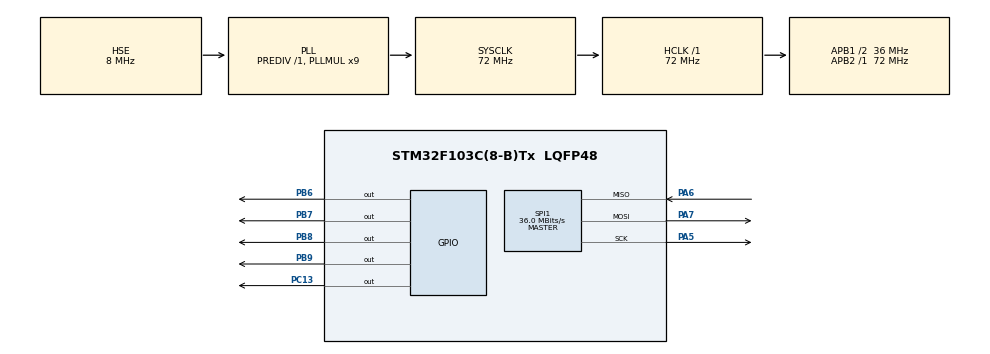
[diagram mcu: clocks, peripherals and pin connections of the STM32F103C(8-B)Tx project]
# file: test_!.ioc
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Mcu.Family=STM32F1
Mcu.Name=STM32F103C(8-B)Tx
Mcu.Package=LQFP48
NVIC.PriorityGroup=NVIC_PRIORITYGROUP_4
PA13.Mode=Serial_Wire
PA13.Signal=SYS_JTMS-SWDIO
PA14.Mode=Serial_Wire
PA14.Signal=SYS_JTCK-SWCLK
PA5.Mode=Full_Duplex_Master
PA5.Signal=SPI1_SCK
PA6.GPIO_PuPd=GPIO_PULLUP
PA6.Mode=Full_Duplex_Master
PA6.Signal=SPI1_MISO
PA7.Mode=Full_Duplex_Master
PA7.Signal=SPI1_MOSI
PB6.GPIO_Speed=GPIO_SPEED_FREQ_MEDIUM
PB6.PinState=GPIO_PIN_SET
PB6.Signal=GPIO_Output
PB7.GPIO_Speed=GPIO_SPEED_FREQ_MEDIUM
PB7.PinState=GPIO_PIN_SET
PB7.Signal=GPIO_Output
PB8.GPIO_Speed=GPIO_SPEED_FREQ_MEDIUM
PB8.PinState=GPIO_PIN_SET
PB8.Signal=GPIO_Output
PB9.GPIO_Speed=GPIO_SPEED_FREQ_MEDIUM
PB9.PinState=GPIO_PIN_SET
PB9.Signal=GPIO_Output
PC13-TAMPER-RTC.Signal=GPIO_Output
PD0-OSC_IN.Mode=HSE-External-Oscillator
PD0-OSC_IN.Signal=RCC_OSC_IN
PD1-OSC_OUT.Mode=HSE-External-Oscillator
PD1-OSC_OUT.Signal=RCC_OSC_OUT
ProjectManager.HeapSize=0x200
ProjectManager.StackSize=0x400
ProjectManager.TargetToolchain=MDK-ARM V5.32
RCC.AHBFreq_Value=72000000
RCC.APB1CLKDivider=RCC_HCLK_DIV2
RCC.APB1Freq_Value=36000000
RCC.APB1TimFreq_Value=72000000
RCC.APB2Freq_Value=72000000
RCC.APB2TimFreq_Value=72000000
RCC.HCLKFreq_Value=72000000
RCC.PLLMUL=RCC_PLL_MUL9
RCC.PLLSourceVirtual=RCC_PLLSOURCE_HSE
RCC.SYSCLKFreq_VALUE=72000000
RCC.SYSCLKSource=RCC_SYSCLKSOURCE_PLLCLK
RCC.USBFreq_Value=72000000
SPI1.BaudRatePrescaler=SPI_BAUDRATEPRESCALER_2
SPI1.CLKPhase=SPI_PHASE_2EDGE
SPI1.CLKPolarity=SPI_POLARITY_HIGH
SPI1.CRCCalculation=SPI_CRCCALCULATION_DISABLE
SPI1.CalculateBaudRate=36.0 MBits/s
SPI1.DataSize=SPI_DATASIZE_16BIT
SPI1.Direction=SPI_DIRECTION_2LINES
SPI1.Mode=SPI_MODE_MASTER
SPI1.VirtualType=VM_MASTER
board=custom

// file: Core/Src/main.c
/* USER CODE BEGIN Header */
/**
  ******************************************************************************
  * @file           : main.c
  * @brief          : Main program body
  ******************************************************************************
  * @attention
  *
  * Copyright (c) 2025 STMicroelectronics.
  * All rights reserved.
  *
  * This software is licensed under terms that can be found in the LICENSE file
  * in the root directory of this software component.
  * If no LICENSE file comes with this software, it is provided AS-IS.
  *
  ******************************************************************************
  */
/* USER CODE END Header */
#include "main.h"
#include "spi.h"
#include "gpio.h"

/* USER CODE BEGIN PD */
#define	LCD_RST_CLR 	HAL_GPIO_WritePin(GPIOB,GPIO_PIN_8,GPIO_PIN_RESET);
#define LCD_RST_SET		HAL_GPIO_WritePin(GPIOB,GPIO_PIN_8,GPIO_PIN_SET);

#define LCD_CS_CLR		HAL_GPIO_WritePin(GPIOB,GPIO_PIN_9,GPIO_PIN_RESET);
#define LCD_CS_SET		HAL_GPIO_WritePin(GPIOB,GPIO_PIN_9,GPIO_PIN_SET);
/* USER CODE END PD */

void SystemClock_Config(void);

/* USER CODE BEGIN 0 */

void LCD_RESET(void)
{
	LCD_RST_CLR;
	HAL_Delay(100);
	LCD_RST_SET;
	HAL_Delay(50);//120gai(�ܲ�����Ϊ�����ٶȸĳ�High��,����ֱ�ӵ�����delay��ʱ�䲻���˰�)
}

uint8_t SPI_WriteByte(SPI_HandleTypeDef *hspi, uint8_t Byte, uint8_t cmd)
{
    uint8_t rx_data = 0;
    uint16_t tx_data;

    // 构造16位发送数据：cmd占最高位，Byte占中间8位（与原寄存器操作保持一致）
    tx_data = ((uint16_t)cmd << 15) | ((uint16_t)Byte << 7);

    // 使用HAL库阻塞模式发送16位数据并接收应答
    // 参数说明：
    // 1. SPI句柄
    // 2. 发送数据缓冲区地址
    // 3. 发送数据长度（1个16位数据）
    // 4. 超时时间（单位：毫秒）
    if (HAL_SPI_TransmitReceive(hspi, (uint8_t*)&tx_data, (uint8_t*)&rx_data, 1, 100) != HAL_OK)
    {
        // 可以在这里添加错误处理代码
        Error_Handler(); // 需要用户实现错误处理函数
    }

    return rx_data;
}

void LCD_WR_REG(uint8_t data)
{
	LCD_CS_CLR;
	SPI_WriteByte(&hspi1,data,0);
	LCD_CS_SET;
}

void LCD_WR_DATA(uint8_t data)
{
	LCD_CS_CLR;
	SPI_WriteByte(&hspi1,data,1);
	LCD_CS_SET;
}

void LCD_WriteRAM_Prepare(void)
{
	LCD_WR_REG(0x2c);
}

/*写 LCD 行列地址：X 为起始的列地址，Y 为起始的行地址，x_total,y_total 分别为列地址及行地址的起点到终点的差值 */
void lcd_address(uint16_t x,uint16_t y,uint16_t x_total,uint16_t y_total)
{
	uint16_t x_end,y_end;

	x_end=x+(x_total-1)/3;
	y_end=y+y_total-1;

	LCD_WR_REG(0x2a);
	LCD_WR_DATA((x>>8)&0x00ff);
	LCD_WR_DATA(x&0x00ff);
	LCD_WR_DATA(x_end>>8&0x00ff);
	LCD_WR_DATA(x_end&0x00ff);
	LCD_WR_REG(0x2b);
	LCD_WR_DATA((y>>8)&0x00ff);
	LCD_WR_DATA(y&0x00ff);
	LCD_WR_DATA(y_end>>8&0x00ff);
	LCD_WR_DATA(y_end&0x00ff);
}

void transfer_mono_data_3pixel(uint8_t mono_data)
{
	uint8_t gray_data=0;

	if(mono_data&0x80)
	{
		gray_data=0xe0; //二进制 11100000，就是给 D7、D6、D5 赋值
	}
	else
	{
		gray_data=0;
	}
	mono_data<<=1;
	if(mono_data&0x80)
	{
		gray_data+=0x1c; //二进制 00011100，就是给 D4、D3、D2 赋值
	}
	else;
	mono_data<<=1;
	if(mono_data&0x80)
	{
		gray_data+=0x03; //二进制 00000011，就是给 D1、D0 赋值
	}
	else;
	LCD_WR_DATA(gray_data); //display 3 dots (seg_N,seg_N+1,seg_N+2)
}

void transfer_mono_data_6pixel(uint8_t dat1)
{
	transfer_mono_data_3pixel(dat1);
	transfer_mono_data_3pixel(dat1<<3);
}

void transfer_mono_data_9pixel(uint8_t dat1,uint8_t dat2)
{
	transfer_mono_data_6pixel(dat1);//先显示 6 个点阵
	transfer_mono_data_3pixel((dat1<<6)|(dat2>>2)); //显示 dat1 的 D1、D0 和 dat2 的 D7 位，对应 3 个点阵(第 7、8、9 个）会显示出来；列地址是自动+1 的
}

void transfer_mono_data_12pixel(uint8_t dat1,uint8_t dat2)
{
	transfer_mono_data_9pixel(dat1,dat2);//先显示 9 个点阵
	transfer_mono_data_3pixel(dat2<<1); //传送 dat2 的 D6\D5\D4 这 3 位，对应第 10、11、12 个个点阵会显示出来；列地址是自动+1的
}

void transfer_mono_data_15pixel(uint8_t dat1,uint8_t dat2)
{
	transfer_mono_data_12pixel(dat1,dat2); //先显示 12 个点阵
	transfer_mono_data_3pixel(dat2<<4); //传送 dat2 的 D3\D2\D1 这 3 位，对应第 13、14、15 个点阵会显示出来；列地址是自动+1的
}

void transfer_mono_data_18pixel(uint8_t dat1,uint8_t dat2,uint8_t dat3)
{
	transfer_mono_data_15pixel(dat1,dat2); //先显示 15 个点阵
	transfer_mono_data_3pixel((dat2<<7)|(dat3>>1)); //传送 dat2 的 D0 和 dat3 的 D7、D6 这 3 位，对应第 16、17、18 个点阵会显示出来；列地址是自动+1 的
}

void LCD_Clear(void)
{
	int i,j = 0;

	lcd_address(0,0,240,160);
	LCD_WriteRAM_Prepare();

	for(i=0;i<160;i++)
	{
		for(j=0;j<20;j++)
		{
			transfer_mono_data_18pixel(0x00,0x00,0x00); //每个字节显示 8 个点阵，显示 8*3=24 个点阵
		}
	}
}

void LCD_Init(void)
{
	LCD_RESET();//LCD复位

	//************* ST7586S初始化**********//
	LCD_WR_REG(0x11); //退出睡眠模式
	LCD_WR_REG(0xC0); // 设置 VOP
	LCD_WR_DATA(0xf1); // 设置 VOP 的值的低 8 位（总共 9 位）,每调一级是 0.03667V
	LCD_WR_DATA(0x00); // 设置 VOP 的值的第 9 位，也是最高一位
	LCD_WR_REG(0xC3); // 设置 BIAS
	LCD_WR_DATA(0x02); // 00：BIAS = 1/14 02 = 1/12
	LCD_WR_REG(0xC4); // 设置升压倍数
	LCD_WR_DATA(0x07); // 07：8 倍压
	LCD_WR_REG(0xD0); // 允许模拟电路
	LCD_WR_DATA(0x1D); // 允许模拟电路
	LCD_WR_REG(0xB5); // N-Line = 13
	LCD_WR_DATA(0x00); // 8d
	LCD_WR_REG(0x38); // 0x38：设置为灰度模式； 0x39: 设置为黑白模式。
	LCD_WR_REG(0x3A); // 允许 DDRAM 接口：单色模式、4 灰度级、16 灰度级；
	LCD_WR_DATA(0x02); // 0x03:16 灰度级；0x02:4 灰度级或单色模式。

	LCD_WR_REG(0x36); // 扫描顺序设置
	LCD_WR_DATA(0x00); // 扫描顺序设置:MX=1,MY=1: 从左到右，从上到下的扫描顺序
	LCD_WR_REG(0xB0); // Duty 设置
	LCD_WR_DATA(0x9f); // Duty 设置:1/160
	LCD_WR_REG(0x20); // 反显设置：OFF
	LCD_WR_REG(0xf1); //温度补偿，温度变化改变帧频
	LCD_WR_DATA(0x15);
	LCD_WR_DATA(0x15);
	LCD_WR_DATA(0x15);
	LCD_WR_DATA(0x15);
	LCD_WR_REG(0xb1);  // 扫描起始行设置
	LCD_WR_DATA(0x00); // 扫描起始行设置：从 COM0 开始
	LCD_WR_REG(0x29);  // 打开显示：DISPLAY ON

	HAL_GPIO_WritePin(GPIOB,GPIO_PIN_6,GPIO_PIN_SET);//LED

	LCD_Clear();

}

uint8_t BMP[] =
{
/*--  调入了一幅图像：C:\Users\Administrator\Desktop\22.bmp  --*/
/*--  宽度x高度=240x160  --*/
0x00,0x00,0x00,0x00,0x00,0x00,0x00,0x00,0x00,0x00,0x00,0x00,0x00,0x00,0x00,0x00,
0x00,0x00,0x00,0x00,0x00,0x00,0x00,0x00,0x00,0x00,0x00,0x00,0x00,0x00,0x00,0x00,
0x00,0x00,0x00,0x00,0x00,0x00,0x00,0x00,0x00,0x00,0x00,0x00,0x00,0x00,0x00,0x00,
0x00,0x00,0x00,0x00,0x00,0x00,0x00,0x00,0x00,0x00,0x00,0x00,0x00,0x00,0x00,0x00,
0x00,0x00,0x00,0x00,0x00,0x00,0x00,0x00,0x00,0x00,0x00,0x00,0x00,0x00,0x00,0x00,
0x00,0x00,0x00,0x00,0x00,0x00,0x00,0x00,0x00,0x00,0x00,0x00,0x00,0x00,0x00,0x00,
0x00,0x00,0x00,0x00,0x00,0x00,0x00,0x00,0x00,0x00,0x00,0x00,0x00,0x00,0x00,0x00,
0x00,0x00,0x00,0x00,0x00,0x00,0x00,0x00,0x00,0x00,0x00,0x00,0x00,0x00,0x00,0x00,
0x00,0x00,0x00,0x00,0x00,0x00,0x00,0x00,0x00,0x00,0x00,0x00,0x00,0x00,0x00,0x00,
0x00,0x00,0x00,0x00,0x00,0x00,0x00,0x00,0x00,0x00,0x00,0x00,0x00,0x00,0x00,0x00,
0x00,0x00,0x00,0x00,0x00,0x00,0x00,0x00,0x00,0x00,0x00,0x00,0x00,0x00,0x00,0x00,
0x00,0x00,0x00,0x00,0x00,0x00,0x00,0x00,0x00,0x00,0x00,0x00,0x00,0x00,0x00,0x00,
0x00,0x00,0x00,0x00,0x00,0x00,0x00,0x00,0x00,0x00,0x00,0x00,0x00,0x00,0x00,0x00,
0x00,0x00,0x00,0x00,0x00,0x00,0x00,0x00,0x00,0x00,0x00,0x00,0x00,0x00,0x00,0x00,
0x00,0x00,0x00,0x00,0x00,0x00,0x00,0x00,0x00,0x00,0x00,0x00,0x00,0x00,0x00,0x00,
0x00,0x00,0x00,0x00,0x00,0x00,0x00,0x00,0x00,0x00,0x00,0x00,0x00,0x00,0x00,0x00,
0x00,0x00,0x00,0x00,0x00,0x00,0x00,0x00,0x00,0x00,0x00,0x00,0x00,0x00,0x00,0x00,
0x00,0x00,0x00,0x00,0x00,0x00,0x00,0x00,0x00,0x00,0x00,0x00,0x00,0x00,0x00,0x00,
0x00,0x00,0x00,0x00,0x00,0x00,0x00,0x00,0x00,0x00,0x00,0x00,0x00,0x00,0x00,0x00,
0x00,0x00,0x00,0x00,0x00,0x00,0x00,0x00,0x00,0x00,0x00,0x00,0x00,0x00,0x00,0x00,
0x00,0x00,0x00,0x00,0x00,0x00,0x00,0x00,0x00,0x00,0x00,0x00,0x00,0x00,0x00,0x00,
0x00,0x00,0x00,0x00,0x00,0x00,0x00,0x00,0x00,0x00,0x00,0x00,0x00,0x00,0x00,0x00,
0x00,0x00,0x00,0x00,0x00,0x00,0x00,0x00,0x00,0x00,0x00,0x00,0x00,0x00,0x00,0x00,
0x00,0x00,0x00,0x00,0x00,0x00,0x00,0x00,0x00,0x00,0x00,0x00,0x00,0x00,0x00,0x00,
0x00,0x00,0x00,0x00,0x00,0x00,0x00,0x00,0x00,0x00,0x00,0x00,0x00,0x00,0x00,0x00,
0x00,0x00,0x00,0x00,0x00,0x00,0x00,0x00,0x00,0x00,0x00,0x00,0x00,0x00,0x00,0x00,
0x00,0x00,0x00,0x00,0x00,0x00,0x00,0x00,0x00,0x00,0x00,0x00,0x00,0x00,0x00,0x00,
0x00,0x00,0x00,0x00,0x00,0x00,0x00,0x00,0x00,0x00,0x00,0x00,0x00,0x00,0x00,0x00,
0x00,0x00,0x00,0x00,0x00,0x00,0x00,0x00,0x00,0x00,0x00,0x00,0x00,0x00,0x00,0x00,
0x00,0x00,0x00,0x00,0x00,0x00,0x00,0x00,0x00,0x00,0x00,0x00,0x00,0x00,0x00,0x00,
0x00,0x00,0x00,0x00,0x00,0x00,0x00,0x00,0x00,0x00,0x00,0x00,0x00,0x00,0x00,0x00,
0x00,0x00,0x00,0x00,0x00,0x00,0x00,0x00,0x00,0x00,0x00,0x00,0x00,0x00,0x00,0x00,
0x00,0x00,0x00,0x00,0x00,0x00,0x00,0x00,0x00,0x00,0x00,0x00,0x00,0x00,0x00,0x00,
0x00,0x00,0x00,0x00,0x00,0x00,0x00,0x00,0x00,0x00,0x00,0x00,0x00,0x00,0x00,0x00,
0x00,0x00,0x00,0x00,0x00,0x00,0x00,0x00,0x00,0x00,0x00,0x00,0x00,0x00,0x00,0x00,
0x00,0x00,0x00,0x00,0x00,0x00,0x00,0x00,0x00,0x00,0x00,0x00,0x00,0x00,0x00,0x00,
0x00,0x00,0x00,0x00,0x00,0x00,0x00,0x00,0x00,0x00,0x00,0x00,0x00,0x00,0x00,0x00,
0x00,0x00,0x00,0x00,0x00,0x00,0x00,0x00,0x00,0x00,0x00,0x00,0x00,0x00,0x00,0x00,
0x00,0x00,0x00,0x00,0x00,0x00,0x00,0x00,0x00,0x00,0x00,0x00,0x00,0x00,0x00,0x00,
0x00,0x00,0x00,0x00,0x00,0x00,0x00,0x00,0x00,0x00,0x00,0x00,0x00,0x00,0x00,0x00,
0x00,0x00,0x00,0x00,0x00,0x00,0x00,0x00,0x00,0x00,0x00,0x00,0x00,0x00,0x00,0x00,
0x00,0x00,0x00,0x00,0x00,0x00,0x00,0x00,0x00,0x00,0x00,0x00,0x00,0x00,0x00,0x00,
0x00,0x00,0x00,0x00,0x00,0x00,0x00,0x00,0x00,0x00,0x00,0x00,0x00,0x00,0x00,0x00,
0x00,0x00,0x00,0x00,0x00,0x00,0x00,0x00,0x00,0x00,0x00,0x00,0x00,0x00,0x00,0x00,
0x00,0x00,0x00,0x00,0x00,0x00,0x00,0x00,0x00,0x00,0x00,0x00,0x00,0x00,0x00,0x00,
0x00,0x00,0x00,0x00,0x00,0x00,0x00,0x00,0x00,0x00,0x00,0x00,0x00,0x00,0x00,0x00,
0x00,0x00,0x00,0x00,0x00,0x00,0x00,0x00,0x00,0x00,0x00,0x00,0x00,0x00,0x00,0x00,
0x00,0x00,0x00,0x00,0x00,0x00,0x00,0x00,0x00,0x00,0x00,0x00,0x00,0x00,0x00,0x00,
0x00,0x00,0x00,0x00,0x00,0x00,0x00,0x00,0x00,0x00,0x00,0x00,0x00,0x00,0x00,0x00,
0x00,0x00,0x00,0x00,0x00,0x00,0x00,0x00,0x00,0x00,0x00,0x00,0x00,0x00,0x00,0x00,
0x00,0x00,0x00,0x00,0x00,0x00,0x00,0x00,0x00,0x00,0x00,0x00,0x00,0x00,0x00,0x00,
0x00,0x00,0x00,0x00,0x00,0x00,0x00,0x00,0x00,0x00,0x00,0x00,0x00,0x00,0x00,0x00,
0x00,0x00,0x00,0x00,0x00,0x00,0x00,0x00,0x00,0x00,0x00,0x00,0x00,0x00,0x00,0x00,
0x00,0x00,0x00,0x00,0x00,0x00,0x00,0x00,0x00,0x00,0x00,0x00,0x00,0x00,0x00,0x00,
0x00,0x00,0x00,0x00,0x00,0x00,0x00,0x00,0x00,0x00,0x00,0x00,0x00,0x00,0x00,0x00,
0x00,0x00,0x00,0x00,0x00,0x00,0x00,0x00,0x00,0x00,0x00,0x00,0x00,0x00,0x00,0x00,
0x00,0x00,0x00,0x00,0x00,0x00,0x00,0x00,0x00,0x00,0x00,0x00,0x00,0x00,0x00,0x00,
0x00,0x00,0x00,0x00,0x00,0x00,0x00,0x00,0x00,0x00,0x00,0x00,0x00,0x00,0x00,0x00,
0x00,0x00,0x00,0x00,0x00,0x00,0x00,0x00,0x00,0x00,0x00,0x00,0x00,0x00,0x00,0x00,
0x00,0x00,0x00,0x00,0x00,0x00,0x00,0x00,0x00,0x00,0x00,0x00,0x00,0x00,0x00,0x00,
0x00,0x00,0x00,0x00,0x00,0x00,0x00,0x00,0x00,0x00,0x00,0x00,0x00,0x00,0x00,0x00,
0x00,0x00,0x00,0x00,0x00,0x00,0x00,0x00,0x00,0x00,0x00,0x00,0x00,0x00,0x00,0x00,
0x00,0x00,0x00,0x00,0x00,0x00,0x00,0x00,0x00,0x00,0x00,0x00,0x00,0x00,0x00,0x00,
0x00,0x00,0x00,0x00,0x03,0xFF,0xC0,0x00,0x00,0x00,0x00,0x00,0x00,0x00,0x00,0x00,
0x00,0x00,0x00,0x0E,0x00,0x00,0x00,0x00,0x00,0x00,0x03,0xFF,0x00,0x03,0x80,0x00,
0x00,0x00,0x03,0xFF,0xC1,0xC0,0x00,0x00,0x00,0x00,0x00,0x00,0x00,0x00,0x00,0x00,
0x00,0x1F,0x00,0x00,0x00,0x00,0x00,0x00,0x03,0xFF,0x80,0x0F,0x80,0x00,0x00,0x00,
0x03,0xFF,0xC3,0xC0,0x00,0x00,0x00,0x00,0x00,0x00,0x00,0x00,0x00,0x00,0x00,0x3F,
0xC0,0x00,0x00,0x00,0x00,0x00,0x03,0xFF,0x80,0x1F,0xC0,0x00,0x00,0x00,0x03,0xFF,
0xCF,0xE0,0x00,0x00,0x00,0x00,0x00,0x00,0x00,0x00,0x00,0x00,0x00,0x7F,0xE0,0x7F,
0xFF,0xFF,0xFF,0x00,0x03,0xFF,0x80,0x7F,0xE0,0x00,0x00,0x00,0x03,0xFF,0xDF,0xF0,
0x00,0x00,0x00,0x00,0x00,0x00,0x00,0x00,0x00,0x00,0x00,0x7F,0xF0,0x7F,0xFF,0xFF,
0xFF,0x00,0x03,0xFF,0x81,0xFF,0xF0,0x00,0x00,0x00,0x03,0xFF,0xFF,0xF8,0x00,0x00,
0x00,0x00,0x00,0x00,0x00,0x00,0x00,0x00,0x00,0xFF,0xF8,0x7F,0xFF,0xFF,0xFF,0x00,
0x03,0xFF,0x81,0xFF,0xF0,0x00,0x00,0x00,0x03,0xFF,0xFF,0xFC,0x00,0x00,0x00,0x00,
0x00,0x00,0x00,0x00,0x00,0x00,0x01,0xFF,0xFE,0x7F,0xFF,0xFF,0xFF,0x3F,0xF3,0xFF,
0x81,0xFF,0xF8,0x00,0x00,0x00,0x03,0xFF,0xFF,0xFE,0x00,0x00,0x00,0x00,0x00,0x00,
0x00,0x00,0x00,0x00,0x01,0xFF,0xFF,0x7F,0xFF,0xFF,0xFF,0x3F,0xF3,0xFF,0x80,0xFF,
0xFC,0x00,0x00,0x00,0x03,0xFF,0xDF,0xFF,0x00,0x00,0x00,0x00,0x00,0x00,0x00,0x00,
0x00,0x00,0x00,0xFF,0xFF,0xFF,0xFF,0xFF,0xFF,0x3F,0xF3,0xFF,0x80,0x7F,0xFC,0x00,
0x00,0x00,0x03,0xFF,0xCF,0xFF,0x80,0x00,0x00,0x00,0x00,0x00,0x00,0x00,0x00,0x00,
0x00,0x7F,0xFF,0xFF,0xFF,0xFF,0xFF,0x3F,0xF3,0xFF,0x80,0x7F,0xFE,0x00,0x00,0x00,
0x03,0xFF,0xC7,0xFF,0x80,0x00,0x00,0x00,0x00,0x00,0x00,0x00,0x00,0x00,0x00,0x3F,
0xFF,0xFF,0xFF,0xFF,0xFF,0x3F,0xF3,0xFF,0x80,0x3F,0xFF,0x00,0x00,0x00,0x03,0xFF,
0xC7,0xFF,0x80,0x00,0x00,0x00,0x00,0x00,0x00,0x00,0x00,0x00,0x00,0x1F,0xFF,0xFF,
0xFF,0xFF,0xFF,0x3F,0xF3,0xFF,0x80,0x1F,0xFF,0x00,0x00,0x00,0x03,0xFF,0xC3,0xFF,
0x00,0x00,0x00,0x00,0x00,0x00,0x00,0x00,0x00,0x00,0x00,0x0F,0xFF,0x7F,0xC0,0x01,
0xFF,0x3F,0xF3,0xFF,0x80,0x1F,0xFF,0x80,0x00,0x00,0x03,0xFF,0xC1,0xFE,0x00,0x00,
0x00,0x00,0x00,0x00,0x00,0x00,0x00,0x00,0x00,0x07,0xFE,0x7F,0xC0,0x01,0xFF,0x3F,
0xF3,0xFF,0x80,0x0F,0xFF,0xC0,0x00,0x00,0x03,0xFF,0xC0,0xF8,0x00,0x00,0x00,0x00,
0x00,0x00,0x00,0x00,0x00,0x00,0x00,0x03,0xFC,0x7F,0xC0,0x01,0xFF,0x3F,0xF3,0xFF,
0x80,0x0F,0xFF,0xFF,0xFF,0xFF,0xFF,0xFF,0xFF,0xFF,0xE0,0x00,0x00,0x00,0x00,0x00,
0x00,0x00,0x00,0x00,0x00,0x01,0xF8,0x7F,0xC0,0x01,0xFF,0x3F,0xF3,0xFF,0x80,0x07,
0xFF,0xBF,0xFF,0xFF,0xFF,0xFF,0xFF,0xFF,0xE0,0x00,0x00,0x00,0x00,0x00,0x00,0x00,
0x00,0x00,0x00,0x00,0xF0,0x7F,0xC0,0x01,0xFF,0x3F,0xF3,0xFF,0x80,0x03,0xFE,0x3F,
0xFF,0xFF,0xFF,0xFF,0xFF,0xFF,0xE0,0x00,0x00,0x00,0x00,0x00,0x00,0x00,0x00,0x00,
0x00,0x00,0x60,0x7F,0xCF,0xF9,0xFF,0x3F,0xF3,0xFF,0x80,0x03,0xFC,0x3F,0xFF,0xFF,
0xFF,0xFF,0xFF,0xFF,0xE0,0x00,0x00,0x00,0x00,0x00,0x00,0x00,0x00,0x00,0x00,0x00,
0x00,0x7F,0xCF,0xF9,0xFF,0x3F,0xF3,0xFF,0x80,0x01,0xF0,0x3F,0xFF,0xFF,0xFF,0xFF,
0xFF,0xFF,0xE0,0x00,0x00,0x00,0x00,0x00,0x00,0x00,0x00,0x00,0x00,0x00,0x00,0x7F,
0xCF,0xF9,0xFF,0x3F,0xF3,0xFF,0x80,0x01,0xC0,0x3F,0xFF,0xFF,0xFF,0xFF,0xFF,0xFF,
0xE0,0x00,0x00,0x00,0x00,0x00,0x00,0x00,0x00,0x00,0x00,0x00,0x00,0x7F,0xCF,0xF9,
0xFF,0x3F,0xF3,0xFF,0x80,0x00,0x00,0x3F,0xFF,0xFF,0xFF,0xFF,0xFF,0xFF,0xE0,0x00,
0x00,0x00,0x00,0x00,0x00,0x00,0x00,0x00,0x00,0x3C,0x00,0x7F,0xCF,0xF9,0xFF,0x3F,
0xF3,0xFF,0x80,0x00,0x00,0x3F,0xFF,0xFF,0xFF,0xFF,0xFF,0xFF,0xE0,0x00,0x00,0x00,
0x00,0x00,0x00,0x00,0x00,0x00,0x00,0x7E,0x00,0x7F,0xCF,0xF9,0xFF,0x3F,0xF3,0xFF,
0x80,0x00,0x00,0x3F,0xFF,0xFF,0xFF,0xFF,0xFF,0xFF,0xE0,0x00,0x00,0x00,0x00,0x00,
0x00,0x00,0x00,0x00,0x00,0xFF,0x00,0x7F,0xCF,0xF9,0xFF,0x3F,0xF3,0xFF,0x80,0x00,
0x00,0x3F,0xFF,0xFF,0xFF,0xFF,0xFF,0xFF,0xE0,0x00,0x00,0x00,0x00,0x00,0x00,0x00,
0x00,0x00,0x01,0xFF,0x80,0x7F,0xCF,0xF9,0xFF,0x3F,0xF3,0xFF,0x8F,0xFF,0xFE,0x3F,
0xFF,0xFF,0xFF,0xFF,0xFF,0xFF,0xE0,0x00,0x00,0x00,0x00,0x00,0x00,0x00,0x00,0x00,
0x01,0xFF,0xE0,0x7F,0xCF,0xF9,0xFF,0x3F,0xF3,0xFF,0x8F,0xFF,0xFE,0x00,0x00,0x00,
0x01,0xFF,0xE0,0x00,0x00,0x00,0x00,0x00,0x00,0x00,0x00,0x00,0x00,0x00,0x03,0xFF,
0xF0,0x7F,0xCF,0xF9,0xFF,0x3F,0xF3,0xFF,0x8F,0xFF,0xFE,0x00,0x00,0x00,0x01,0xFF,
0xE0,0x00,0x00,0x00,0x00,0x00,0x00,0x00,0x00,0x00,0x00,0x00,0x07,0xFF,0xF8,0x7F,
0xCF,0xF9,0xFF,0x3F,0xF3,0xFF,0x8F,0xFF,0xFE,0x00,0x00,0x00,0x01,0xFF,0xE0,0x00,
0x00,0x00,0x00,0x00,0x00,0x00,0x00,0x00,0x00,0x00,0x07,0xFF,0xFC,0x7F,0xCF,0xF9,
0xFF,0x3F,0xF3,0xFF,0x8F,0xFF,0xFE,0x00,0x00,0x00,0x01,0xFF,0xE0,0x00,0x00,0x00,
0x00,0x00,0x00,0x00,0x00,0x00,0x00,0x00,0x03,0xFF,0xFE,0x7F,0xCF,0xF9,0xFF,0x3F,
0xF3,0xFF,0x8F,0xFF,0xFE,0x00,0x00,0x00,0x01,0xFF,0xE0,0x00,0x00,0x00,0x00,0x00,
0x00,0x00,0x00,0x00,0x00,0x00,0x01,0xFF,0xFF,0x7F,0xCF,0xF9,0xFF,0x3F,0xF3,0xFF,
0x8F,0xFF,0xFE,0x00,0x00,0x00,0x01,0xFF,0xE0,0x00,0x00,0x00,0x00,0x00,0x00,0x00,
0x00,0x00,0x00,0x00,0x00,0xFF,0xFF,0x7F,0xCF,0xF9,0xFF,0x3F,0xF3,0xFF,0x8F,0xFF,
0xFE,0x00,0x00,0x00,0x01,0xFF,0xE0,0x00,0x00,0x00,0x00,0x00,0x00,0x00,0x00,0x00,
0x00,0x00,0x00,0x7F,0xFE,0x7F,0xCF,0xF9,0xFF,0x3F,0xF3,0xFF,0x8F,0xFF,0xFE,0x00,
0x00,0x00,0x01,0xFF,0xE0,0x00,0x00,0x00,0x00,0x00,0x00,0x00,0x00,0x00,0x00,0x00,
0x00,0x3F,0xFC,0x7F,0xCF,0xF9,0xFF,0x3F,0xF3,0xFF,0x8F,0xFF,0xFE,0x1F,0xFF,0xFF,
0xFD,0xFF,0xE0,0x00,0x00,0x00,0x00,0x00,0x00,0x00,0x00,0x00,0x00,0x00,0x00,0x1F,
0xF8,0x7F,0xCF,0xF9,0xFF,0x3F,0xF3,0xFF,0x87,0xFF,0xFE,0x1F,0xFF,0xFF,0xFD,0xFF,
0xE0,0x00,0x00,0x00,0x00,0x00,0x00,0x00,0x00,0x00,0x00,0x00,0x00,0x0F,0xF0,0x7F,
0xCF,0xF9,0xFF,0x3F,0xF3,0xFF,0x80,0x1F,0xFE,0x1F,0xFF,0xFF,0xFD,0xFF,0xE0,0x00,
0x00,0x00,0x00,0x00,0x00,0x00,0x00,0x00,0x00,0x00,0x00,0x07,0xF0,0x7F,0xCF,0xF9,
0xFF,0x3F,0xF3,0xFF,0x80,0x1F,0xFE,0x1F,0xFF,0xFF,0xFD,0xFF,0xE0,0x00,0x00,0x00,
0x00,0x00,0x00,0x00,0x00,0x00,0x00,0x00,0x00,0x03,0xE0,0x7F,0xCF,0xF9,0xFF,0x3F,
0xF3,0xFF,0x80,0x1F,0xFE,0x1F,0xFF,0xFF,0xFD,0xFF,0xE0,0x00,0x00,0x00,0x00,0x00,
0x00,0x00,0x00,0x00,0x00,0x00,0x00,0x01,0xC0,0x7F,0xCF,0xF9,0xFF,0x3F,0xF3,0xFF,
0x80,0x1F,0xFE,0x1F,0xFF,0xFF,0xFD,0xFF,0xE0,0x00,0x00,0x00,0x00,0x00,0x00,0x00,
0x00,0x00,0x00,0x00,0x00,0x00,0x00,0x7F,0xCF,0xF9,0xFF,0x3F,0xF3,0xFF,0x80,0x1F,
0xFE,0x1F,0xFF,0xFF,0xFD,0xFF,0xE0,0x00,0x00,0x00,0x00,0x00,0x00,0x00,0x00,0x00,
0x00,0x00,0x00,0x00,0x00,0x7F,0xCF,0xF9,0xFF,0x3F,0xF3,0xFF,0x80,0x1F,0xFE,0x1F,
0xFF,0xFF,0xFD,0xFF,0xE0,0x00,0x00,0x00,0x00,0x00,0x00,0x00,0x00,0x00,0x00,0x00,
0x00,0x00,0x00,0x7F,0xCF,0xF9,0xFF,0x3F,0xF3,0xFF,0x80,0x1F,0xFE,0x1F,0xFF,0xFF,
0xFC,0xFF,0xF0,0x00,0x00,0x00,0x00,0x00,0x00,0x00,0x00,0x00,0x00,0x00,0x00,0x00,
0x00,0x7F,0xCF,0xF9,0xFF,0x3F,0xF3,0xFF,0x80,0x1F,0xFE,0x1F,0xFF,0xFF,0xFC,0xFF,
0xF0,0x00,0x00,0x00,0x00,0x00,0x00,0x00,0x00,0x00,0x00,0x00,0x00,0x07,0x00,0x7F,
0xCF,0xF1,0xFF,0x3F,0xF3,0xFF,0x80,0x1F,0xFE,0x0F,0xFF,0xFF,0xF8,0xFF,0xF0,0x00,
0x00,0x00,0x00,0x00,0x00,0x00,0x00,0x00,0x00,0x00,0x00,0x07,0xE0,0x7F,0xDF,0xF1,
0xFF,0x3F,0xF3,0xFF,0x80,0x1F,0xFE,0x00,0x1F,0xFC,0x00,0xFF,0xF0,0x00,0x00,0x00,
0x00,0x00,0x00,0x00,0x00,0x00,0x00,0x00,0x00,0x07,0xFC,0x7F,0xDF,0xF1,0xFF,0x3F,
0xF3,0xFF,0x80,0x1F,0xFE,0x00,0x1F,0xFC,0x00,0xFF,0xF0,0x00,0x00,0x00,0x00,0x00,
0x00,0x00,0x00,0x00,0x00,0x00,0x00,0x07,0xFF,0x7F,0xDF,0xF1,0xFF,0x3F,0xF3,0xFF,
0x80,0x1F,0xFE,0x00,0x1F,0xFC,0x00,0xFF,0xF0,0x00,0x00,0x00,0x00,0x00,0x00,0x00,
0x00,0x00,0x00,0x00,0x00,0x0F,0xFF,0x7F,0xDF,0xF1,0xFF,0x3F,0xF3,0xFF,0x80,0x1F,
0xFE,0x00,0x1F,0xFC,0x00,0xFF,0xF0,0x00,0x00,0x00,0x00,0x00,0x00,0x00,0x00,0x00,
0x00,0x00,0x00,0x0F,0xFF,0x7F,0xDF,0xF1,0xFF,0x3F,0xF3,0xFF,0x80,0x1F,0xFE,0x00,
0x1F,0xFC,0x00,0xFF,0xF0,0x00,0x00,0x00,0x00,0x00,0x00,0x00,0x00,0x00,0x00,0x00,
0x00,0x0F,0xFF,0x7F,0xFF,0xF1,0xFF,0x3F,0xF3,0xFF,0x80,0x1F,0xFE,0x00,0x1F,0xFC,
0x00,0xFF,0xF0,0x00,0x00,0x00,0x00,0x00,0x00,0x00,0x00,0x00,0x00,0x00,0x00,0x0F,
0xFF,0x7F,0xFF,0xF1,0xFF,0x3F,0xF3,0xFF,0x80,0x1F,0xFE,0x00,0x1F,0xFC,0x00,0xFF,
0xF8,0x00,0x00,0x00,0x00,0x00,0x00,0x00,0x00,0x00,0x00,0x00,0x00,0x0F,0xFE,0x7F,
0xFF,0xF1,0xFF,0x3F,0xF3,0xFF,0x80,0x1F,0xFE,0x00,0x1F,0xFC,0x00,0xFF,0xF8,0x00,
0x00,0x00,0x00,0x00,0x00,0x00,0x00,0x00,0x00,0x00,0x00,0x1F,0xFE,0x7F,0xFF,0xE0,
0x00,0x3F,0xF3,0xFF,0x80,0x1F,0xFE,0x0C,0x1F,0xFC,0x00,0x7F,0xF8,0x78,0x00,0x00,
0x00,0x00,0x00,0x00,0x00,0x00,0x00,0x00,0x00,0x1F,0xFE,0x00,0x7F,0xE0,0x00,0x3F,
0xF3,0xFF,0x80,0x1F,0xFE,0x3C,0x1F,0xFC,0x00,0x7F,0xF8,0x7E,0x00,0x00,0x00,0x00,
0x00,0x00,0x00,0x00,0x00,0x00,0x00,0x1F,0xFE,0x00,0x7F,0xE6,0x00,0x3F,0xF3,0xFF,
0x80,0x1F,0xFE,0x7E,0x1F,0xFC,0x00,0x7F,0xF8,0x7F,0xC0,0x00,0x00,0x00,0x00,0x00,
0x00,0x00,0x00,0x00,0x00,0x1F,0xFC,0x00,0xFF,0xEF,0x00,0x3F,0xF3,0xFF,0x80,0x1F,
0xFE,0xFE,0x1F,0xFC,0x00,0x7F,0xF8,0x7F,0xF0,0x00,0x00,0x00,0x00,0x00,0x00,0x00,
0x00,0x00,0x00,0x3F,0xFC,0x00,0xFF,0xFF,0x80,0x3F,0xF3,0xFF,0x80,0x1F,0xFF,0xFE,
0x1F,0xFC,0x00,0x7F,0xFC,0x7F,0xF0,0x00,0x00,0x00,0x00,0x00,0x00,0x00,0x00,0x00,
0x00,0x3F,0xFC,0x01,0xFF,0xFF,0xC0,0x3F,0xF3,0xFF,0x80,0x1F,0xFF,0xFE,0x1F,0xFC,
0x00,0x7F,0xFC,0x7F,0xF0,0x00,0x00,0x00,0x00,0x00,0x00,0x00,0x00,0x00,0x00,0x3F,
0xFC,0x03,0xFF,0xFF,0xE0,0x3F,0xF3,0xFF,0x80,0x1F,0xFF,0xFE,0x1F,0xFC,0x7F,0x7F,
0xFC,0x7F,0xF0,0x00,0x00,0x00,0x00,0x00,0x00,0x00,0x00,0x00,0x00,0x3F,0xF8,0x03,
0xFF,0xFF,0xF0,0x00,0x03,0xFF,0x80,0x1F,0xFF,0xFE,0x1F,0xFF,0xFF,0x3F,0xFC,0x7F,
0xE0,0x00,0x00,0x00,0x00,0x00,0x00,0x00,0x00,0x00,0x00,0x7F,0xF8,0x07,0xFF,0xFF,
0xF8,0x00,0x03,0xFF,0x80,0x1F,0xFF,0xFE,0x1F,0xFF,0xFF,0x3F,0xFC,0xFF,0xE0,0x00,
0x00,0x00,0x00,0x00,0x00,0x00,0x00,0x00,0x00,0x7F,0xF8,0x0F,0xFF,0x7F,0xFC,0x00,
0x03,0xFF,0x80,0x1F,0xFF,0xFF,0xFF,0xFF,0xFF,0x3F,0xFE,0xFF,0xE0,0x00,0x00,0x00,
0x00,0x00,0x00,0x00,0x00,0x00,0x00,0x7F,0xF8,0x1F,0xFF,0x3F,0xFE,0x00,0x03,0xFF,
0x80,0x1F,0xFF,0xFF,0xFF,0xFF,0xFF,0x3F,0xFE,0xFF,0xE0,0x00,0x00,0x00,0x00,0x00,
0x00,0x00,0x00,0x00,0x00,0x7F,0xF0,0x3F,0xFE,0x3F,0xFE,0x00,0x07,0xFF,0x80,0x1F,
0xFF,0xFF,0xFF,0xFF,0xFF,0x1F,0xFE,0xFF,0xE0,0x00,0x00,0x00,0x00,0x00,0x00,0x00,
0x00,0x00,0x00,0xFF,0xF0,0x7F,0xFE,0x1F,0xFF,0x3F,0xFF,0xFF,0x80,0x1F,0xFF,0xFF,
0xFF,0xFF,0xFF,0x1F,0xFF,0xFF,0xE0,0x00,0x00,0x00,0x00,0x00,0x00,0x00,0x00,0x00,
0x00,0xFF,0xF0,0xFF,0xFC,0x0F,0xFF,0x9F,0xFF,0xFF,0x80,0x1F,0xFF,0xFF,0xFF,0xFF,
0xFF,0x1F,0xFF,0xFF,0xC0,0x00,0x00,0x00,0x00,0x00,0x00,0x00,0x00,0x00,0x00,0xFF,
0xF3,0xFF,0xF8,0x07,0xFF,0xDF,0xFF,0xFF,0x80,0x3F,0xFF,0xFF,0xFF,0xFF,0xFF,0x1F,
0xFF,0xFF,0xC0,0x00,0x00,0x00,0x00,0x00,0x00,0x00,0x00,0x00,0x01,0xFF,0xE7,0xFF,
0xF8,0x07,0xFF,0xFF,0xFF,0xFF,0x00,0x3F,0xFF,0xFF,0xFF,0xFF,0xFF,0x0F,0xFF,0xFF,
0xC0,0x00,0x00,0x00,0x00,0x00,0x00,0x00,0x00,0x00,0x01,0xFF,0xE7,0xFF,0xF0,0x03,
0xFF,0xDF,0xFF,0xFF,0x00,0x7F,0xFF,0x9F,0xFF,0xFF,0xFF,0x0F,0xFF,0xFF,0xC0,0x00,
0x00,0x00,0x00,0x00,0x00,0x00,0x00,0x00,0x01,0xFF,0xE3,0xFF,0xE0,0x01,0xFF,0x8F,
0xFF,0xFF,0x00,0x3F,0xFF,0x1F,0xFF,0xFF,0xFC,0x0F,0xFF,0xFF,0x80,0x00,0x00,0x00,
0x00,0x00,0x00,0x00,0x00,0x00,0x01,0xFF,0xE3,0xFF,0xC0,0x00,0xFF,0x0F,0xFF,0xFF,
0x00,0x1F,0xFE,0x1F,0xFF,0xFE,0x00,0x07,0xFF,0xFF,0x80,0x00,0x00,0x00,0x00,0x00,
0x00,0x00,0x00,0x00,0x03,0xFF,0xC1,0xFF,0xC0,0x00,0xFC,0x0F,0xFF,0xFE,0x00,0x1F,
0xF8,0x1F,0xFF,0x80,0x00,0x07,0xFF,0xFF,0x00,0x00,0x00,0x00,0x00,0x00,0x00,0x00,
0x00,0x00,0x03,0xFF,0xC0,0xFF,0x80,0x00,0x78,0x0F,0xFF,0xFC,0x00,0x0F,0xF0,0x0F,
0xE0,0x00,0x00,0x03,0xFF,0xFF,0x00,0x00,0x00,0x00,0x00,0x00,0x00,0x00,0x00,0x00,
0x01,0xFF,0xC0,0x7F,0x00,0x00,0x30,0x0F,0xFF,0xF8,0x00,0x07,0xE0,0x00,0x00,0x00,
0x00,0x01,0xFF,0xFE,0x00,0x00,0x00,0x00,0x00,0x00,0x00,0x00,0x00,0x00,0x00,0x3F,
0xC0,0x3E,0x00,0x00,0x00,0x07,0xFF,0xF0,0x00,0x03,0xC0,0x00,0x00,0x00,0x00,0x00,
0xFF,0xFC,0x00,0x00,0x00,0x00,0x00,0x00,0x00,0x00,0x00,0x00,0x00,0x07,0x80,0x3C,
0x00,0x00,0x00,0x07,0xFF,0x00,0x00,0x03,0x80,0x00,0x00,0x00,0x00,0x00,0x7F,0xF8,
0x00,0x00,0x00,0x00,0x00,0x00,0x00,0x00,0x00,0x00,0x00,0x00,0x00,0x18,0x00,0x00,
0x00,0x00,0x00,0x00,0x00,0x00,0x00,0x00,0x00,0x00,0x00,0x00,0x1F,0xE0,0x00,0x00,
0x00,0x00,0x00,0x00,0x00,0x00,0x00,0x00,0x00,0x00,0x00,0x00,0x00,0x00,0x00,0x00,
0x00,0x00,0x00,0x00,0x00,0x00,0x00,0x00,0x00,0x00,0x00,0x00,0x00,0x00,0x00,0x00,
0x00,0x00,0x00,0x00,0x00,0x00,0x00,0x00,0x00,0x00,0x00,0x00,0x00,0x00,0x00,0x00,
0x00,0x00,0x00,0x00,0x00,0x00,0x00,0x00,0x00,0x00,0x00,0x00,0x00,0x00,0x00,0x00,
0x00,0x00,0x00,0x00,0x00,0x00,0x00,0x00,0x00,0x00,0x00,0x00,0x00,0x00,0x00,0x00,
0x00,0x00,0x00,0x00,0x00,0x00,0x00,0x00,0x00,0x00,0x00,0x00,0x00,0x00,0x00,0x00,
0x00,0x00,0x00,0x00,0x00,0x00,0x00,0x00,0x00,0x00,0x00,0x00,0x00,0x00,0x00,0x00,
0x00,0x00,0x00,0x00,0x00,0x00,0x00,0x00,0x00,0x00,0x00,0x00,0x00,0x00,0x00,0x00,
0x00,0x00,0x00,0x00,0x00,0x00,0x00,0x00,0x00,0x00,0x00,0x00,0x00,0x00,0x00,0x00,
0x00,0x00,0x00,0x00,0x00,0x00,0x00,0x00,0x00,0x00,0x00,0x00,0x00,0x00,0x00,0x00,
0x00,0x00,0x00,0x00,0x00,0x00,0x00,0x00,0x00,0x00,0x00,0x00,0x00,0x00,0x00,0x00,
0x00,0x00,0x00,0x00,0x00,0x00,0x00,0x00,0x00,0x00,0x00,0x00,0x00,0x00,0x00,0x00,
0x00,0x00,0x00,0x00,0x00,0x00,0x00,0x00,0x00,0x00,0x00,0x00,0x00,0x00,0x00,0x00,
0x00,0x00,0x00,0x00,0x00,0x00,0x00,0x00,0x00,0x00,0x00,0x00,0x00,0x00,0x00,0x00,
0x00,0x00,0x00,0x00,0x00,0x00,0x00,0x00,0x00,0x00,0x00,0x00,0x00,0x00,0x00,0x00,
0x00,0x00,0x00,0x00,0x00,0x00,0x00,0x00,0x00,0x00,0x00,0x00,0x00,0x00,0x00,0x00,
0x00,0x00,0x00,0x00,0x00,0x00,0x00,0x00,0x00,0x00,0x00,0x00,0x00,0x00,0x00,0x00,
0x00,0x00,0x00,0x00,0x00,0x00,0x00,0x00,0x00,0x00,0x00,0x00,0x00,0x00,0x00,0x00,
0x00,0x00,0x00,0x00,0x00,0x00,0x00,0x00,0x00,0x00,0x00,0x00,0x00,0x00,0x00,0x00,
0x00,0x00,0x00,0x00,0x00,0x00,0x00,0x00,0x00,0x00,0x00,0x00,0x00,0x00,0x00,0x00,
0x00,0x00,0x00,0x00,0x00,0x00,0x00,0x00,0x00,0x00,0x00,0x00,0x00,0x00,0x00,0x00,
0x00,0x00,0x00,0x00,0x00,0x00,0x00,0x00,0x00,0x00,0x00,0x00,0x00,0x00,0x00,0x00,
0x00,0x00,0x00,0x00,0x00,0x00,0x00,0x00,0x00,0x00,0x00,0x00,0x00,0x00,0x00,0x00,
0x00,0x00,0x00,0x00,0x00,0x00,0x00,0x00,0x00,0x00,0x00,0x00,0x00,0x00,0x00,0x00,
0x00,0x00,0x00,0x00,0x00,0x00,0x00,0x00,0x00,0x00,0x00,0x00,0x00,0x00,0x00,0x00,
0x00,0x00,0x00,0x00,0x00,0x00,0x00,0x00,0x00,0x00,0x00,0x00,0x00,0x00,0x00,0x00,
0x00,0x00,0x00,0x00,0x00,0x00,0x00,0x00,0x00,0x00,0x00,0x00,0x00,0x00,0x00,0x00,
0x00,0x00,0x00,0x00,0x00,0x00,0x00,0x00,0x00,0x00,0x00,0x00,0x00,0x00,0x00,0x00,
0x00,0x00,0x00,0x00,0x00,0x00,0x00,0x00,0x00,0x00,0x00,0x00,0x00,0x00,0x00,0x00,
0x00,0x00,0x00,0x00,0x00,0x00,0x00,0x00,0x00,0x00,0x00,0x00,0x00,0x00,0x00,0x00,
0x00,0x00,0x00,0x00,0x00,0x00,0x00,0x00,0x00,0x00,0x00,0x00,0x00,0x00,0x00,0x00,
0x00,0x00,0x00,0x00,0x00,0x00,0x00,0x00,0x00,0x00,0x00,0x00,0x00,0x00,0x00,0x00,
0x00,0x00,0x00,0x00,0x00,0x00,0x00,0x00,0x00,0x00,0x00,0x00,0x00,0x00,0x00,0x00,
0x00,0x00,0x00,0x00,0x00,0x00,0x00,0x00,0x00,0x00,0x00,0x00,0x00,0x00,0x00,0x00,
0x00,0x00,0x00,0x00,0x00,0x00,0x00,0x00,0x00,0x00,0x00,0x00,0x00,0x00,0x00,0x00,
0x00,0x00,0x00,0x00,0x00,0x00,0x00,0x00,0x00,0x00,0x00,0x00,0x00,0x00,0x00,0x00,
0x00,0x00,0x00,0x00,0x00,0x00,0x00,0x00,0x00,0x00,0x00,0x00,0x00,0x00,0x00,0x00,
0x00,0x00,0x00,0x00,0x00,0x00,0x00,0x00,0x00,0x00,0x00,0x00,0x00,0x00,0x00,0x00,
0x00,0x00,0x00,0x00,0x00,0x00,0x00,0x00,0x00,0x00,0x00,0x00,0x00,0x00,0x00,0x00,
0x00,0x00,0x00,0x00,0x00,0x00,0x00,0x00,0x00,0x00,0x00,0x00,0x00,0x00,0x00,0x00,
0x00,0x00,0x00,0x00,0x00,0x00,0x00,0x00,0x00,0x00,0x00,0x00,0x00,0x00,0x00,0x00,
0x00,0x00,0x00,0x00,0x00,0x00,0x00,0x00,0x00,0x00,0x00,0x00,0x00,0x00,0x00,0x00,
0x00,0x00,0x00,0x00,0x00,0x00,0x00,0x00,0x00,0x00,0x00,0x00,0x00,0x00,0x00,0x00,
0x00,0x00,0x00,0x00,0x00,0x00,0x00,0x00,0x00,0x00,0x00,0x00,0x00,0x00,0x00,0x00,
0x00,0x00,0x00,0x00,0x00,0x00,0x00,0x00,0x00,0x00,0x00,0x00,0x00,0x00,0x00,0x00,
0x00,0x00,0x00,0x00,0x00,0x00,0x00,0x00,0x00,0x00,0x00,0x00,0x00,0x00,0x00,0x00,
0x00,0x00,0x00,0x00,0x00,0x00,0x00,0x00,0x00,0x00,0x00,0x00,0x00,0x00,0x00,0x00,
0x00,0x00,0x00,0x00,0x00,0x00,0x00,0x00,0x00,0x00,0x00,0x00,0x00,0x00,0x00,0x00,
0x00,0x00,0x00,0x00,0x00,0x00,0x00,0x00,0x00,0x00,0x00,0x00,0x00,0x00,0x00,0x00,
0x00,0x00,0x00,0x00,0x00,0x00,0x00,0x00,0x00,0x00,0x00,0x00,0x00,0x00,0x00,0x00,
0x00,0x00,0x00,0x00,0x00,0x00,0x00,0x00,0x00,0x00,0x00,0x00,0x00,0x00,0x00,0x00,
0x00,0x00,0x00,0x00,0x00,0x00,0x00,0x00,0x00,0x00,0x00,0x00,0x00,0x00,0x00,0x00,
0x00,0x00,0x00,0x00,0x00,0x00,0x00,0x00,0x00,0x00,0x00,0x00,0x00,0x00,0x00,0x00,
0x00,0x00,0x00,0x00,0x00,0x00,0x00,0x00,0x00,0x00,0x00,0x00,0x00,0x00,0x00,0x00,
0x00,0x00,0x00,0x00,0x00,0x00,0x00,0x00,0x00,0x00,0x00,0x00,0x00,0x00,0x00,0x00,
0x00,0x00,0x00,0x00,0x00,0x00,0x00,0x00,0x00,0x00,0x00,0x00,0x00,0x00,0x00,0x00,
0x00,0x00,0x00,0x00,0x00,0x00,0x00,0x00,0x00,0x00,0x00,0x00,0x00,0x00,0x00,0x00,
0x00,0x00,0x00,0x00,0x00,0x00,0x00,0x00,0x00,0x00,0x00,0x00,0x00,0x00,0x00,0x00,
0x00,0x00,0x00,0x00,0x00,0x00,0x00,0x00,0x00,0x00,0x00,0x00,0x00,0x00,0x00,0x00,
0x00,0x00,0x00,0x00,0x00,0x00,0x00,0x00,0x00,0x00,0x00,0x00,0x00,0x00,0x00,0x00,
0x00,0x00,0x00,0x00,0x00,0x00,0x00,0x00,0x00,0x00,0x00,0x00,0x00,0x00,0x00,0x00,
0x00,0x00,0x00,0x00,0x00,0x00,0x00,0x00,0x00,0x00,0x00,0x00,0x00,0x00,0x00,0x00,
0x00,0x00,0x00,0x00,0x00,0x00,0x00,0x00,0x00,0x00,0x00,0x00,0x00,0x00,0x00,0x00,
0x00,0x00,0x00,0x00,0x00,0x00,0x00,0x00,0x00,0x00,0x00,0x00,0x00,0x00,0x00,0x00,
0x00,0x00,0x00,0x00,0x00,0x00,0x00,0x00,0x00,0x00,0x00,0x00,0x00,0x00,0x00,0x00,
0x00,0x00,0x00,0x00,0x00,0x00,0x00,0x00,0x00,0x00,0x00,0x00,0x00,0x00,0x00,0x00,
0x00,0x00,0x00,0x00,0x00,0x00,0x00,0x00,0x00,0x00,0x00,0x00,0x00,0x00,0x00,0x00,
0x00,0x00,0x00,0x00,0x00,0x00,0x00,0x00,0x00,0x00,0x00,0x00,0x00,0x00,0x00,0x00,
0x00,0x00,0x00,0x00,0x00,0x00,0x00,0x00,0x00,0x00,0x00,0x00,0x00,0x00,0x00,0x00,
0x00,0x00,0x00,0x00,0x00,0x00,0x00,0x00,0x00,0x00,0x00,0x00,0x00,0x00,0x00,0x00,
0x00,0x00,0x00,0x00,0x00,0x00,0x00,0x00,0x00,0x00,0x00,0x00,0x00,0x00,0x00,0x00,
0x00,0x00,0x00,0x00,0x00,0x00,0x00,0x00,0x00,0x00,0x00,0x00,0x00,0x00,0x00,0x00,
0x00,0x00,0x00,0x00,0x00,0x00,0x00,0x00,0x00,0x00,0x00,0x00,0x00,0x00,0x00,0x00,
0x00,0x00,0x00,0x00,0x00,0x00,0x00,0x00,0x00,0x00,0x00,0x00,0x00,0x00,0x00,0x00,
0x00,0x00,0x00,0x00,0x00,0x00,0x00,0x00,0x00,0x00,0x00,0x00,0x00,0x00,0x00,0x00,
0x00,0x00,0x00,0x00,0x00,0x00,0x00,0x00,0x00,0x00,0x00,0x00,0x00,0x00,0x00,0x00,
0x00,0x00,0x00,0x00,0x00,0x00,0x00,0x00,0x00,0x00,0x00,0x00,0x00,0x00,0x00,0x00,
0x00,0x00,0x00,0x00,0x00,0x00,0x00,0x00,0x00,0x00,0x00,0x00,0x00,0x00,0x00,0x00,
0x00,0x00,0x00,0x00,0x00,0x00,0x00,0x00,0x00,0x00,0x00,0x00,0x00,0x00,0x00,0x00,
0x00,0x00,0x00,0x00,0x00,0x00,0x00,0x00,0x00,0x00,0x00,0x00,0x00,0x00,0x00,0x00,
0x00,0x00,0x00,0x00,0x00,0x00,0x00,0x00,0x00,0x00,0x00,0x00,0x00,0x00,0x00,0x00,
0x00,0x00,0x00,0x00,0x00,0x00,0x00,0x00,0x00,0x00,0x00,0x00,0x00,0x00,0x00,0x00,
0x00,0x00,0x00,0x00,0x00,0x00,0x00,0x00,0x00,0x00,0x00,0x00,0x00,0x00,0x00,0x00,
0x00,0x00,0x00,0x00,0x00,0x00,0x00,0x00,0x00,0x00,0x00,0x00,0x00,0x00,0x00,0x00,
0x00,0x00,0x00,0x00,0x00,0x00,0x00,0x00,0x00,0x00,0x00,0x00,0x00,0x00,0x00,0x00,
0x00,0x00,0x00,0x00,0x00,0x00,0x00,0x00,0x00,0x00,0x00,0x00,0x00,0x00,0x00,0x00,
0x00,0x00,0x00,0x00,0x00,0x00,0x00,0x00,0x00,0x00,0x00,0x00,0x00,0x00,0x00,0x00,
0x00,0x00,0x00,0x00,0x00,0x00,0x00,0x00,0x00,0x00,0x00,0x00,0x00,0x00,0x00,0x00,
0x00,0x00,0x00,0x00,0x00,0x00,0x00,0x00,0x00,0x00,0x00,0x00,0x00,0x00,0x00,0x00,
0x00,0x00,0x00,0x00,0x00,0x00,0x00,0x00,0x00,0x00,0x00,0x00,0x00,0x00,0x00,0x00,
0x00,0x00,0x00,0x00,0x00,0x00,0x00,0x00,0x00,0x00,0x00,0x00,0x00,0x00,0x00,0x00,
0x00,0x00,0x00,0x00,0x00,0x00,0x00,0x00,0x00,0x00,0x00,0x00,0x00,0x00,0x00,0x00,
};

void transfer_mono_data_21pixel(uint8_t dat1,uint8_t dat2,uint8_t dat3)
{
	transfer_mono_data_18pixel(dat1,dat2,dat3); //先显示 18 个点阵
	transfer_mono_data_3pixel(dat3<<2); //传送 dat3 的 D5、D4、D3 这 3 位，对应第 19、20、21 个点阵会显示出来；列地址是自动+1的
}

void transfer_mono_data_24pixel(uint8_t dat1,uint8_t dat2,uint8_t dat3)
{
	transfer_mono_data_21pixel(dat1,dat2,dat3); //先显示 21 个点阵
	transfer_mono_data_3pixel(dat3<<5); //传送 dat3 的 D2、D1、D0 这 3 位，对应第 22、23、24 个点阵会显示出来；列地址是自动+1的
}

//显示 240*160 点阵的图像
void disp_240x160(uint8_t *dp)
{
	uint16_t i,j;
	uint8_t dat1,dat2,dat3;

	lcd_address(0,0,240,160);
	LCD_WriteRAM_Prepare();
	for(i=0;i<160;i++)
	{
		for(j=0;j<10;j++)//循环 10 次，每次显示 24 个点阵，合计 240 个点阵
		{
			dat1=*dp;dp++;
			dat2=*dp;dp++;
			dat3=*dp;dp++;
			transfer_mono_data_24pixel(dat1,dat2,dat3); //每个字节显示 8 个点阵，显示 8*3=24 个点阵
		}
	}
}

const unsigned char asc2_1608_number[][16] =
{
//  0(0) 1(1) 2(2) 3(3) 4(4) 5(5) 6(6) 7(7) 8(8) 9(9) .(10)

{0x00,0x00,0x00,0x3C,0x66,0x42,0x42,0x5A,0x42,0x42,0x66,0x3C,0x00,0x00,0x00,0x00},/*"0",0*/
{0x00,0x00,0x00,0x18,0x68,0x48,0x08,0x08,0x08,0x08,0x08,0x7E,0x00,0x00,0x00,0x00},/*"1",1*/
{0x00,0x00,0x00,0x3C,0x66,0x42,0x06,0x04,0x08,0x10,0x20,0x7E,0x00,0x00,0x00,0x00},/*"2",2*/
{0x00,0x00,0x00,0x7C,0x04,0x08,0x18,0x04,0x06,0x46,0x44,0x3C,0x00,0x00,0x00,0x00},/*"3",3*/
{0x00,0x00,0x00,0x0C,0x18,0x10,0x20,0x64,0x44,0x7C,0x04,0x04,0x00,0x00,0x00,0x00},/*"4",4*/
{0x00,0x00,0x00,0x7C,0x40,0x40,0x7C,0x04,0x02,0x42,0x64,0x3C,0x00,0x00,0x00,0x00},/*"5",5*/
{0x00,0x00,0x00,0x08,0x10,0x30,0x3C,0x66,0x42,0x42,0x66,0x3C,0x00,0x00,0x00,0x00},/*"6",6*/
{0x00,0x00,0x00,0x7E,0x42,0x04,0x04,0x0C,0x08,0x08,0x10,0x30,0x00,0x00,0x00,0x00},/*"7",7*/
{0x00,0x00,0x00,0x3C,0x66,0x42,0x64,0x38,0x46,0x42,0x46,0x3C,0x00,0x00,0x00,0x00},/*"8",8*/
{0x00,0x00,0x00,0x3C,0x66,0x42,0x42,0x66,0x3C,0x08,0x08,0x10,0x00,0x00,0x00,0x00},/*"9",9*/
{0x00,0x00,0x00,0x00,0x00,0x00,0x00,0x00,0x00,0x00,0x18,0x18,0x00,0x00,0x00,0x00},/*".",10*/

};

const unsigned char asc2_1608_UppL[][16] =
{
//  A(0) B(1) C(2) D(3) E(4) F(5) G(6) H(7) I(8) J(9) K(10) L(11) M(12) N(13) O(14) P(15)
//  Q(16) R(17) S(18) T(19) U(20) V(21) W(22) X(23) Y(24) Z(25)

{0x00,0x00,0x00,0x18,0x18,0x38,0x2C,0x24,0x24,0x7C,0x42,0x42,0x00,0x00,0x00,0x00},/*"A",0*/
{0x00,0x00,0x00,0x7C,0x46,0x42,0x44,0x78,0x46,0x42,0x46,0x7C,0x00,0x00,0x00,0x00},/*"B",1*/
{0x00,0x00,0x00,0x3C,0x66,0x42,0x40,0x40,0x40,0x42,0x66,0x3C,0x00,0x00,0x00,0x00},/*"C",2*/
{0x00,0x00,0x00,0x7C,0x44,0x46,0x46,0x46,0x46,0x46,0x44,0x7C,0x00,0x00,0x00,0x00},/*"D",3*/
{0x00,0x00,0x00,0x7E,0x40,0x40,0x40,0x7C,0x40,0x40,0x40,0x7E,0x00,0x00,0x00,0x00},/*"E",4*/
{0x00,0x00,0x00,0x7E,0x40,0x40,0x40,0x7C,0x40,0x40,0x40,0x40,0x00,0x00,0x00,0x00},/*"F",5*/
{0x00,0x00,0x00,0x3C,0x66,0x40,0x40,0x4E,0x42,0x42,0x66,0x3C,0x00,0x00,0x00,0x00},/*"G",6*/
{0x00,0x00,0x00,0x46,0x46,0x46,0x46,0x7E,0x46,0x46,0x46,0x46,0x00,0x00,0x00,0x00},/*"H",7*/
{0x00,0x00,0x00,0x7C,0x18,0x18,0x18,0x18,0x18,0x18,0x18,0x7C,0x00,0x00,0x00,0x00},/*"I",8*/
{0x00,0x00,0x00,0x04,0x04,0x04,0x04,0x04,0x04,0x44,0x44,0x38,0x00,0x00,0x00,0x00},/*"J",9*/
{0x00,0x00,0x00,0x42,0x44,0x44,0x48,0x78,0x48,0x44,0x44,0x42,0x00,0x00,0x00,0x00},/*"K",10*/
{0x00,0x00,0x00,0x20,0x20,0x20,0x20,0x20,0x20,0x20,0x20,0x3E,0x00,0x00,0x00,0x00},/*"L",11*/
{0x00,0x00,0x00,0x66,0x66,0x6A,0x5A,0x5A,0x42,0x42,0x42,0x42,0x00,0x00,0x00,0x00},/*"M",12*/
{0x00,0x00,0x00,0x66,0x66,0x56,0x56,0x56,0x4A,0x4A,0x46,0x46,0x00,0x00,0x00,0x00},/*"N",13*/
{0x00,0x00,0x00,0x3C,0x64,0x46,0x46,0x46,0x46,0x46,0x64,0x3C,0x00,0x00,0x00,0x00},/*"O",14*/
{0x00,0x00,0x00,0x7C,0x42,0x42,0x42,0x7C,0x40,0x40,0x40,0x40,0x00,0x00,0x00,0x00},/*"P",15*/
{0x00,0x00,0x00,0x3C,0x66,0x42,0x42,0x42,0x42,0x42,0x66,0x3C,0x0C,0x06,0x00,0x00},/*"Q",16*/
{0x00,0x00,0x00,0x7C,0x46,0x42,0x46,0x7C,0x48,0x44,0x44,0x42,0x00,0x00,0x00,0x00},/*"R",17*/
{0x00,0x00,0x00,0x3C,0x64,0x42,0x60,0x1C,0x06,0x42,0x66,0x3C,0x00,0x00,0x00,0x00},/*"S",18*/
{0x00,0x00,0x00,0x7E,0x10,0x10,0x10,0x10,0x10,0x10,0x10,0x10,0x00,0x00,0x00,0x00},/*"T",19*/
{0x00,0x00,0x00,0x46,0x46,0x46,0x46,0x46,0x46,0x46,0x64,0x3C,0x00,0x00,0x00,0x00},/*"U",20*/
{0x00,0x00,0x00,0x42,0x42,0x64,0x24,0x24,0x24,0x38,0x18,0x18,0x00,0x00,0x00,0x00},/*"V",21*/
{0x00,0x00,0x00,0x9B,0xDA,0x5A,0x5A,0x5A,0x6A,0x66,0x66,0x64,0x00,0x00,0x00,0x00},/*"W",22*/
{0x00,0x00,0x00,0x42,0x24,0x2C,0x18,0x18,0x18,0x24,0x64,0x42,0x00,0x00,0x00,0x00},/*"X",23*/
{0x00,0x00,0x00,0xC2,0x46,0x24,0x2C,0x18,0x18,0x10,0x10,0x10,0x00,0x00,0x00,0x00},/*"Y",24*/
{0x00,0x00,0x00,0x7E,0x04,0x0C,0x08,0x10,0x10,0x20,0x60,0x7E,0x00,0x00,0x00,0x00},/*"Z",25*/
};

void transfer_mono_data_8pixel(uint8_t dat1)
{
	transfer_mono_data_3pixel(dat1);//传送 dat1 的 D7\D6\D5 这 3 位，对应 3 个点阵(第 1、2、3 个）会显示出来；列地址是自动+1 的
	transfer_mono_data_3pixel(dat1<<3);//传送 dat1 的 D4\D3\D2 这 3 位，对应 3 个点阵(第 4、5、6 个）会显示出来；列地址是自动+1 的
	transfer_mono_data_3pixel(dat1<<6);//传送 dat1 的 D1\D0 这 2 位，对应 3 个点阵(第 7、8、9 个）会显示出来
	//这个液晶驱动 IC 的每个列地址管 3 个点阵，无法分开，所以第 7、8 个点阵会连累到第 9 个点阵，结果是每次显示 9 个点阵，只不过第 9 个点阵会补“0”
	//如果第 9 个点阵本来有显示内容，就会被无情地清掉
}

void LCD_ShowChar(uint16_t x, uint16_t y, uint8_t num)
{
    uint8_t temp, i;
    const uint8_t *font_ptr = NULL; // 先创建一个空的字库指针

    // 判断字符类型，并获取正确的字库地址
    if (num >= '0' && num <= '9')
    {
        // 如果是数字
        font_ptr = &asc2_1608_number[num - '0'][0];
    }
    else if (num >= 'A' && num <= 'Z')
    {
        // 如果是大写字母
        font_ptr = &asc2_1608_UppL[num - 'A'][0];
    }
    // else if (num >= 'a' && num <= 'z')
    // {
    //     // 如果以后您添加了小写字母字库，可以取消这里的注释
    //     font_ptr = &asc2_1608_LowL[num - 'a'][0];
    // }
	else if (num == ' ')
    {
        // 如果是空格，特殊处理，不查找字库
        // 直接准备绘制一个 8x16 的空白区域
        lcd_address(x, y, 8, 16);
        LCD_WriteRAM_Prepare();
        for (i = 0; i < 16; i++)
        {
            transfer_mono_data_8pixel(0x00); // 发送全0数据，即背景色
        }
        return; // 空格处理完毕，直接返回
    }
    else
    {
        // 对于其他所有字符（比如空格、标点符号等），我们暂时不显示
        // 您也可以在这里指向一个“未知字符”的字模，比如一个方框
        return; // 直接返回，不进行后续操作
    }

    // 如果找到了合法的字库
    if (font_ptr)
    {
        lcd_address(x, y, 8, 16); // 设置显示窗口为 8x16
        LCD_WriteRAM_Prepare();   // 准备写GRAM

        for (i = 0; i < 16; i++) // 循环16行，显示一个8x16的字符
        {
            temp = font_ptr[i]; // 取出当前行8个像素的数据
            transfer_mono_data_8pixel(temp); // 调用我们已经分析过的函数，将这8个像素的数据发送出去
        }
    }
}

/* USER CODE END 0 */

int main(void)
{

  /* MCU Configuration--------------------------------------------------------*/

  /* Reset of all peripherals, Initializes the Flash interface and the Systick. */
  HAL_Init();

  /* Configure the system clock */
  SystemClock_Config();

  /* Initialize all configured peripherals */
  MX_GPIO_Init();
  MX_SPI1_Init();
  /* USER CODE BEGIN 2 */
		LCD_Init();	   //液晶屏初始化

			//disp_240x160(BMP);
		LCD_ShowChar(0, 0, '0');
  /* USER CODE END 2 */

  /* Infinite loop */
  /* USER CODE BEGIN WHILE */
  while (1)
  {

					disp_240x160(BMP);
    /* USER CODE END WHILE */

  }
}

void SystemClock_Config(void)
{
  RCC_OscInitTypeDef RCC_OscInitStruct = {0};
  RCC_ClkInitTypeDef RCC_ClkInitStruct = {0};

  /** Initializes the RCC Oscillators according to the specified parameters
  * in the RCC_OscInitTypeDef structure.
  */
  RCC_OscInitStruct.OscillatorType = RCC_OSCILLATORTYPE_HSE;
  RCC_OscInitStruct.HSEState = RCC_HSE_ON;
  RCC_OscInitStruct.HSEPredivValue = RCC_HSE_PREDIV_DIV1;
  RCC_OscInitStruct.HSIState = RCC_HSI_ON;
  RCC_OscInitStruct.PLL.PLLState = RCC_PLL_ON;
  RCC_OscInitStruct.PLL.PLLSource = RCC_PLLSOURCE_HSE;
  RCC_OscInitStruct.PLL.PLLMUL = RCC_PLL_MUL9;
  if (HAL_RCC_OscConfig(&RCC_OscInitStruct) != HAL_OK)
  {
    Error_Handler();
  }

  /** Initializes the CPU, AHB and APB buses clocks
  */
  RCC_ClkInitStruct.ClockType = RCC_CLOCKTYPE_HCLK|RCC_CLOCKTYPE_SYSCLK
                              |RCC_CLOCKTYPE_PCLK1|RCC_CLOCKTYPE_PCLK2;
  RCC_ClkInitStruct.SYSCLKSource = RCC_SYSCLKSOURCE_PLLCLK;
  RCC_ClkInitStruct.AHBCLKDivider = RCC_SYSCLK_DIV1;
  RCC_ClkInitStruct.APB1CLKDivider = RCC_HCLK_DIV2;
  RCC_ClkInitStruct.APB2CLKDivider = RCC_HCLK_DIV1;

  if (HAL_RCC_ClockConfig(&RCC_ClkInitStruct, FLASH_LATENCY_2) != HAL_OK)
  {
    Error_Handler();
  }
}

void Error_Handler(void)
{
  __disable_irq();
  while (1)
  {
  }
}
